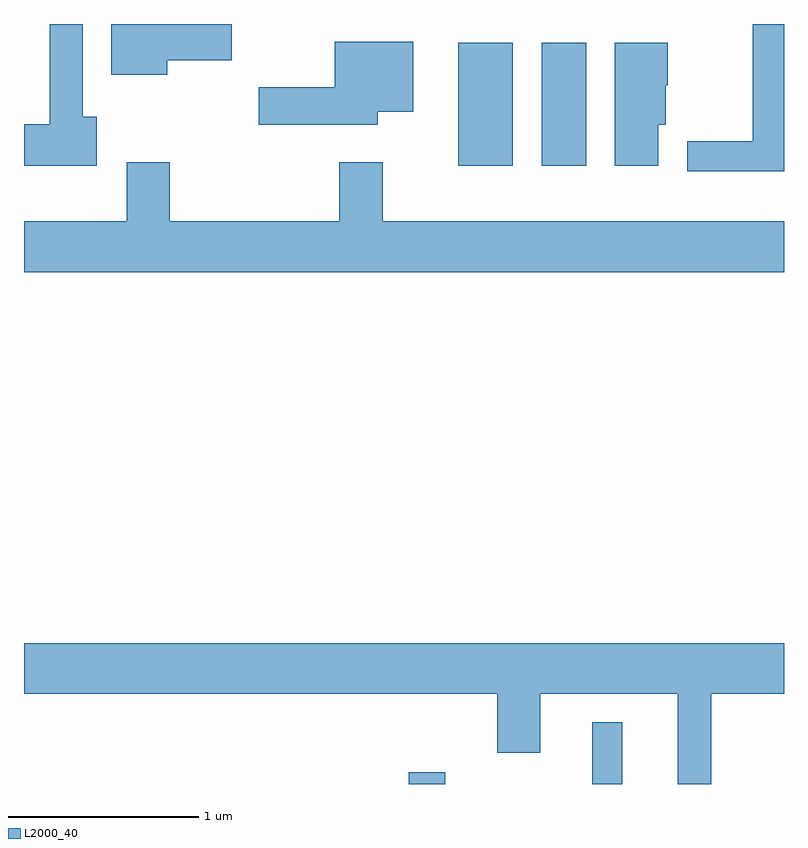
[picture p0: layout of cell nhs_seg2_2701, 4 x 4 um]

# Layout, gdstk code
import gdstk
lib = gdstk.Library(unit=1e-6, precision=1e-09)
def R(c, l, rs):  # rectangles x0, y0, x1, y1
    for r in rs: c.add(gdstk.rectangle(r[:2], r[2:], *l))
def P(c, l, *ps):  # polygons
    for p in ps: c.add(gdstk.Polygon(p, *l))
L2000_40 = (2000, 40)

nhs_seg2_2701 = lib.new_cell('nhs_seg2_2701')
R(nhs_seg2_2701, L2000_40, [(265.636,1087.802,265.829,1087.864), (266.601,1087.802,266.759,1088.128), (265.896,1091.056,266.184,1091.704), (266.336,1091.056,266.569,1091.704)])
P(nhs_seg2_2701, L2000_40, [(267.611,1091.802),(267.446,1091.802),(267.446,1091.184),(267.103,1091.184),(267.103,1091.026),(267.611,1091.026)],
  [(264.364,1091.611),(264.704,1091.611),(264.704,1091.802),(264.071,1091.802),(264.071,1091.536),(264.364,1091.536)],
  [(263.994,1091.314),(263.919,1091.314),(263.919,1091.802),(263.746,1091.802),(263.746,1091.274),(263.611,1091.274),(263.611,1091.056),(263.994,1091.056)],
  [(265.474,1091.341),(265.659,1091.341),(265.659,1091.709),(265.246,1091.709),(265.246,1091.469),(264.846,1091.469),(264.846,1091.271),(265.474,1091.271)],
  [(266.949,1091.271),(266.989,1091.271),(266.989,1091.48),(266.999,1091.48),(266.999,1091.704),(266.721,1091.704),(266.721,1091.056),(266.949,1091.056)],
  [(267.611,1090.764),(265.499,1090.764),(265.499,1091.074),(265.271,1091.074),(265.271,1090.764),(264.379,1090.764),(264.379,1091.074),(264.151,1091.074),(264.151,1090.764),(263.611,1090.764),(263.611,1090.496),(267.611,1090.496)],
  [(267.229,1088.276),(267.611,1088.276),(267.611,1088.544),(263.611,1088.544),(263.611,1088.276),(266.101,1088.276),(266.101,1087.966),(266.329,1087.966),(266.329,1088.276),(267.051,1088.276),(267.051,1087.802),(267.229,1087.802)])

lib.write_gds('nhs_seg2_2701.gds')
